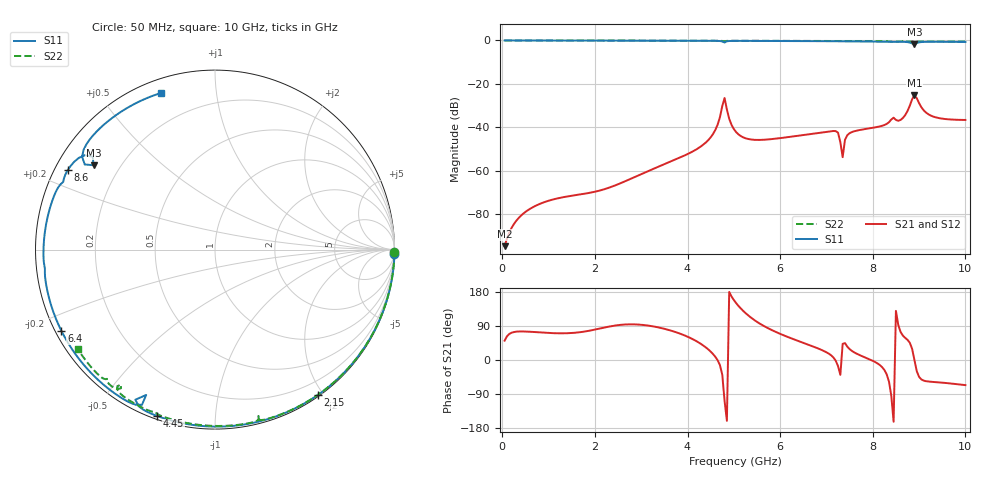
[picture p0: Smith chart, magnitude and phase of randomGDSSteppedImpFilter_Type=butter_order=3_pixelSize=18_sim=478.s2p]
! freq	dB(S11)	phase(S11)	dB(S12)	phase(S12)
!  dB(S21)	phase(S21)	dB(S22)	phase(S22)
!S-par simulation data
#  GHz  S  DB  R 50
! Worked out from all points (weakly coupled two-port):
!   200 points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, 50 MHz to 10 GHz, reference 50 ohm
!   highest |S21| = -25.30 dB at 8.9 GHz (marker M1); lowest = -94.7 dB at 50 MHz (marker M2)
!   lowest |S11| = -1.7 dB at 8.9 GHz (marker M3), VSWR 10.38, Z = 5.29 + j15.5 ohm
!   |S11| at or under -10 dB: nowhere
!   |S22| runs from -0.8 to 0.0 dB; largest |S21 - S12| = 0
!   S11 on the Smith chart (normalised r, x): 50 MHz: 0, -87; 2.15 GHz: 0.02, -1.93; 4.45 GHz: 0.01, -0.71; 6.4 GHz: 0.02, -0.25; 8.6 GHz: 0.04, +0.25; 10 GHz: 0.06, +0.71
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0.05  -0.00 -1.3  -94.72 51.1  -94.72 51.1  -0.00 -0.8
0.45  -0.01 -11.8  -79.79 75.3  -79.79 75.3  -0.01 -7.5
1.75  -0.06 -44.9  -70.67 74.6  -70.67 74.6  -0.04 -28.9
2.15  -0.07 -54.8  -68.84 84.2  -68.84 84.2  -0.05 -35.3
3.4  -0.11 -84.7  -57.87 85.2  -57.87 85.2  -0.07 -54.9
4.45  -0.16 -109.1  -45.84 27.7  -45.84 27.7  -0.10 -70.8
4.65  -0.20 -114.2  -38.75 -0.7  -38.75 -0.7  -0.12 -73.9
4.8  -0.95 -115.3  -26.49 -108.0  -26.49 -108.0  -0.37 -75.3
4.9  -0.26 -117.1  -36.07 179.7  -36.07 179.7  -0.15 -76.6
5.05  -0.20 -121.3  -42.21 150.1  -42.21 150.1  -0.13 -79.0
5.45  -0.21 -130.6  -45.77 104.7  -45.77 104.7  -0.14 -84.8
6.4  -0.28 -152.2  -43.85 49.8  -43.85 49.8  -0.18 -98.0
6.7  -0.31 -159.1  -42.97 36.2  -42.97 36.2  -0.20 -102.0
7.25  -0.39 -172.4  -42.47 -16.2  -42.47 -16.2  -0.27 -109.6
7.35  -0.40 -174.5  -53.76 42.6  -53.76 42.6  -0.32 -110.5
7.4  -0.39 -175.7  -45.73 44.5  -45.73 44.5  -0.29 -111.0
7.5  -0.39 -178.3  -42.70 28.7  -42.70 28.7  -0.27 -112.4
8.35  -0.53 158.6  -37.65 -57.1  -37.65 -57.1  -0.43 -124.7
8.6  -0.61 151.7  -36.60 74.2  -36.60 74.2  -0.42 -125.8
8.9  -1.68 145.2  -25.30 -0.7  -25.30 -0.7  -0.55 -129.9
9.25  -0.62 135.1  -34.56 -57.4  -34.56 -57.4  -0.42 -134.3
10  -0.70 108.9  -36.60 -66.3  -36.60 -66.3  -0.50 -144.2
